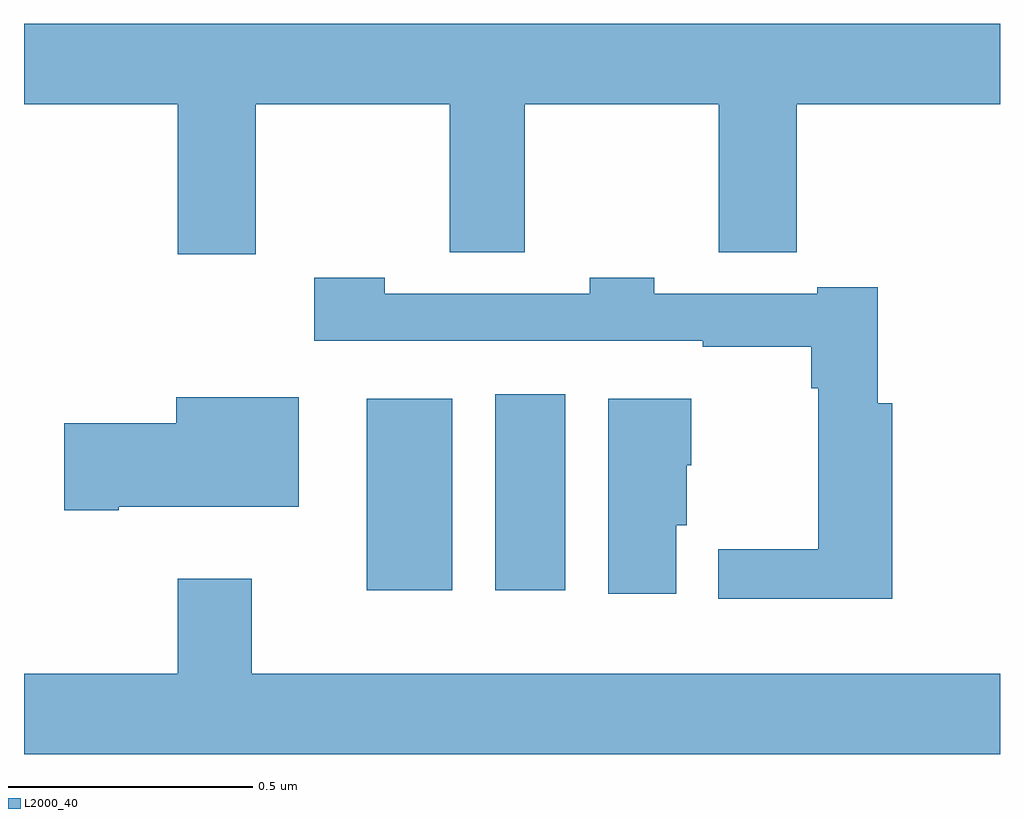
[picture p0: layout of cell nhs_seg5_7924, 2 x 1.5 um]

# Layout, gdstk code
import gdstk
lib = gdstk.Library(unit=1e-6, precision=1e-09)
def R(c, l, rs):  # rectangles x0, y0, x1, y1
    for r in rs: c.add(gdstk.rectangle(r[:2], r[2:], *l))
def P(c, l, *ps):  # polygons
    for p in ps: c.add(gdstk.Polygon(p, *l))
L2000_40 = (2000, 40)

nhs_seg5_7924 = lib.new_cell('nhs_seg5_7924')
R(nhs_seg5_7924, L2000_40, [(215.702,862.424,215.878,862.816), (215.966,862.424,216.109,862.825)])
P(nhs_seg5_7924, L2000_40, [(215,863.42),(215.315,863.42),(215.315,863.112),(215.475,863.112),(215.475,863.42),(215.872,863.42),(215.872,863.116),(216.026,863.116),(216.026,863.42),(216.424,863.42),(216.424,863.116),(216.584,863.116),(216.584,863.42),(217,863.42),(217,863.584),(215,863.584)],
  [(216.779,862.807),(216.749,862.807),(216.749,863.044),(216.626,863.044),(216.626,863.031),(216.291,863.031),(216.291,863.064),(216.159,863.064),(216.159,863.031),(215.739,863.031),(215.739,863.064),(215.595,863.064),(215.595,862.935),(216.391,862.935),(216.391,862.923),(216.613,862.923),(216.613,862.838),(216.628,862.838),(216.628,862.508),(216.423,862.508),(216.423,862.406),(216.779,862.406)],
  [(215.194,862.595),(215.563,862.595),(215.563,862.819),(215.312,862.819),(215.312,862.766),(215.082,862.766),(215.082,862.588),(215.194,862.588)],
  [(216.337,862.557),(216.358,862.557),(216.358,862.68),(216.367,862.68),(216.367,862.816),(216.197,862.816),(216.197,862.416),(216.337,862.416)],
  [(217,862.252),(215.467,862.252),(215.467,862.447),(215.315,862.447),(215.315,862.252),(215,862.252),(215,862.088),(217,862.088)])

lib.write_gds('nhs_seg5_7924.gds')
